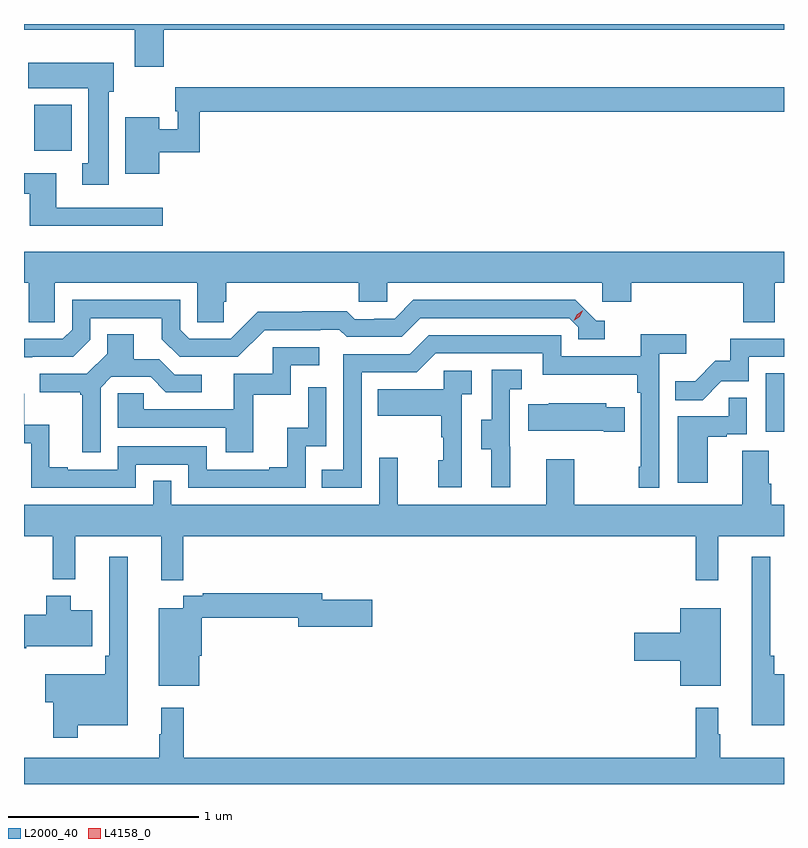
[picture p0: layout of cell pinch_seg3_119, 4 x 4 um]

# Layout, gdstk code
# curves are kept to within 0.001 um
import gdstk
lib = gdstk.Library(unit=1e-6, precision=1e-09)
def R(c, l, rs):  # rectangles x0, y0, x1, y1
    for r in rs: c.add(gdstk.rectangle(r[:2], r[2:], *l))
def P(c, l, *ps):  # polygons
    for p in ps: c.add(gdstk.Polygon(p, *l))
L2000_40 = (2000, 40)
L4158_0 = (4158, 0)

pinch_seg3_119 = lib.new_cell('pinch_seg3_119')
R(pinch_seg3_119, L2000_40, [(1075.562,716.118,1075.659,716.425), (1071.713,717.596,1071.91,717.838)])
P(pinch_seg3_119, L2000_40, [(1072.394,718.232),(1075.659,718.232),(1075.659,718.263),(1071.659,718.263),(1071.659,718.232),(1072.241,718.232),(1072.241,718.038),(1072.394,718.038)],
  [(1072.105,717.906),(1072.132,717.906),(1072.132,718.06),(1071.681,718.06),(1071.681,717.926),(1071.998,717.926),(1071.998,717.53),(1071.965,717.53),(1071.965,717.417),(1072.105,717.417)],
  [(1072.372,717.588),(1072.583,717.588),(1072.583,717.802),(1075.659,717.802),(1075.659,717.931),(1072.455,717.931),(1072.455,717.804),(1072.467,717.804),(1072.467,717.709),(1072.372,717.709),(1072.372,717.772),(1072.193,717.772),(1072.193,717.476),(1072.372,717.476)],
  [(1072.39,717.297),(1071.829,717.297),(1071.829,717.478),(1071.659,717.478),(1071.659,717.369),(1071.689,717.369),(1071.689,717.2),(1072.39,717.2)],
  [(1071.822,716.9),(1072.572,716.9),(1072.572,716.692),(1072.709,716.692),(1072.709,716.802),(1072.724,716.802),(1072.724,716.9),(1073.421,716.9),(1073.421,716.802),(1073.571,716.802),(1073.571,716.9),(1074.702,716.9),(1074.702,716.802),(1074.854,716.802),(1074.854,716.9),(1075.445,716.9),(1075.445,716.692),(1075.61,716.692),(1075.61,716.9),(1075.659,716.9),(1075.659,717.064),(1071.659,717.064),(1071.659,716.9),(1071.683,716.9),(1071.683,716.692),(1071.822,716.692)],
  [(1071.702,716.511),(1071.918,716.511),(1072.008,716.601),(1072.008,716.715),(1072.385,716.715),(1072.385,716.605),(1072.479,716.511),(1072.785,716.511),(1072.926,716.652),(1073.219,716.652),(1073.219,716.655),(1073.318,716.655),(1073.357,716.616),(1073.646,716.616),(1073.745,716.715),(1074.528,716.715),(1074.576,716.667),(1074.576,716.604),(1074.715,716.604),(1074.715,716.7),(1074.672,716.7),(1074.561,716.811),(1073.708,716.811),(1073.609,716.712),(1073.502,716.712),(1073.502,716.709),(1073.399,716.709),(1073.357,716.752),(1073.124,716.752),(1073.124,716.749),(1072.888,716.749),(1072.746,716.607),(1072.53,716.607),(1072.482,716.655),(1072.482,716.811),(1071.912,716.811),(1071.912,716.655),(1071.864,716.607),(1071.659,716.607),(1071.659,716.51)],
  [(1073.436,716.43),(1073.727,716.43),(1073.826,716.529),(1074.39,716.529),(1074.39,716.417),(1074.886,716.417),(1074.886,716.321),(1074.906,716.321),(1074.906,715.933),(1074.894,715.933),(1074.894,715.821),(1075.002,715.821),(1075.002,716.528),(1075.144,716.528),(1075.144,716.63),(1074.905,716.63),(1074.905,716.514),(1074.486,716.514),(1074.486,716.625),(1073.789,716.625),(1073.69,716.526),(1073.34,716.526),(1073.34,715.917),(1073.227,715.917),(1073.227,715.821),(1073.436,715.821)],
  [(1072.062,716.349),(1072.119,716.406),(1072.325,716.406),(1072.406,716.325),(1072.594,716.325),(1072.594,716.418),(1072.452,716.418),(1072.372,716.498),(1072.237,716.498),(1072.237,716.63),(1072.097,716.63),(1072.097,716.528),(1071.99,716.421),(1071.741,716.421),(1071.741,716.324),(1071.954,716.324),(1071.954,716.313),(1071.965,716.313),(1071.965,716.01),(1072.062,716.01)],
  [(1075.329,716.382),(1075.473,716.382),(1075.473,716.511),(1075.659,716.511),(1075.659,716.607),(1075.375,716.607),(1075.375,716.49),(1075.298,716.49),(1075.191,716.383),(1075.087,716.383),(1075.087,716.284),(1075.231,716.284)],
  [(1072.865,716.313),(1073.064,716.313),(1073.064,716.466),(1073.212,716.466),(1073.212,716.562),(1072.968,716.562),(1072.968,716.421),(1072.763,716.421),(1072.763,716.235),(1072.289,716.235),(1072.289,716.319),(1072.152,716.319),(1072.152,716.139),(1072.721,716.139),(1072.721,716.01),(1072.865,716.01)],
  [(1074.218,716.037),(1074.216,716.037),(1074.216,716.341),(1074.28,716.341),(1074.28,716.444),(1074.12,716.444),(1074.12,716.181),(1074.065,716.181),(1074.065,716.026),(1074.119,716.026),(1074.119,715.824),(1074.218,715.824)],
  [(1073.964,716.315),(1074.016,716.315),(1074.016,716.439),(1073.868,716.439),(1073.868,716.341),(1073.521,716.341),(1073.521,716.201),(1073.856,716.201),(1073.856,716.087),(1073.866,716.087),(1073.866,715.968),(1073.84,715.968),(1073.84,715.824),(1073.964,715.824)],
  [(1072.248,715.944),(1072.524,715.944),(1072.524,715.821),(1073.142,715.821),(1073.142,716.04),(1073.25,716.04),(1073.25,716.35),(1073.154,716.35),(1073.154,716.138),(1073.045,716.138),(1073.045,715.93),(1072.949,715.93),(1072.949,715.917),(1072.62,715.917),(1072.62,716.04),(1072.152,716.04),(1072.152,715.917),(1071.889,715.917),(1071.889,715.93),(1071.793,715.93),(1071.793,716.155),(1071.66,716.155),(1071.66,716.316),(1071.659,716.316),(1071.659,716.057),(1071.696,716.057),(1071.696,715.821),(1072.248,715.821)],
  [(1075.258,716.091),(1075.358,716.091),(1075.358,716.103),(1075.464,716.103),(1075.464,716.297),(1075.369,716.297),(1075.369,716.199),(1075.1,716.199),(1075.1,715.848),(1075.258,715.848)],
  [(1074.821,716.245),(1074.723,716.245),(1074.723,716.266),(1074.421,716.266),(1074.421,716.263),(1074.313,716.263),(1074.313,716.123),(1074.71,716.123),(1074.71,716.116),(1074.821,716.116)],
  [(1072.498,715.568),(1075.195,715.568),(1075.195,715.335),(1075.313,715.335),(1075.313,715.568),(1075.659,715.568),(1075.659,715.732),(1075.592,715.732),(1075.592,715.844),(1075.579,715.844),(1075.579,716.018),(1075.439,716.018),(1075.439,715.732),(1074.555,715.732),(1074.555,715.972),(1074.407,715.972),(1074.407,715.732),(1073.627,715.732),(1073.627,715.981),(1073.529,715.981),(1073.529,715.732),(1072.434,715.732),(1072.434,715.859),(1072.338,715.859),(1072.338,715.732),(1071.659,715.732),(1071.659,715.568),(1071.811,715.568),(1071.811,715.34),(1071.929,715.34),(1071.929,715.568),(1072.382,715.568),(1072.382,715.335),(1072.498,715.335)],
  [(1071.943,714.572),(1072.204,714.572),(1072.204,715.459),(1072.107,715.459),(1072.107,714.937),(1072.087,714.937),(1072.087,714.841),(1071.77,714.841),(1071.77,714.694),(1071.814,714.694),(1071.814,714.507),(1071.943,714.507)],
  [(1075.659,714.841),(1075.607,714.841),(1075.607,714.937),(1075.587,714.937),(1075.587,715.459),(1075.49,715.459),(1075.49,714.572),(1075.659,714.572)],
  [(1072.582,714.939),(1072.594,714.939),(1072.594,715.138),(1073.102,715.138),(1073.102,715.091),(1073.491,715.091),(1073.491,715.233),(1073.23,715.233),(1073.23,715.267),(1072.6,715.267),(1072.6,715.254),(1072.498,715.254),(1072.498,715.189),(1072.367,715.189),(1072.367,714.779),(1072.582,714.779)],
  [(1071.67,714.989),(1072.018,714.989),(1072.018,715.177),(1071.904,715.177),(1071.904,715.255),(1071.775,715.255),(1071.775,715.155),(1071.659,715.155),(1071.659,714.977),(1071.67,714.977)],
  [(1075.327,715.189),(1075.112,715.189),(1075.112,715.058),(1074.87,715.058),(1074.87,714.911),(1075.112,714.911),(1075.112,714.779),(1075.327,714.779)],
  [(1075.659,714.4),(1075.324,714.4),(1075.324,714.524),(1075.312,714.524),(1075.312,714.664),(1075.195,714.664),(1075.195,714.4),(1072.499,714.4),(1072.499,714.664),(1072.382,714.664),(1072.382,714.524),(1072.371,714.524),(1072.371,714.4),(1071.659,714.4),(1071.659,714.263),(1075.659,714.263)])
P(pinch_seg3_119, L4158_0, [(1074.552,716.701),(1074.552,716.701),(1074.568,716.734),(1074.598,716.754),(1074.599,716.754),(1074.599,716.753),(1074.583,716.721),(1074.552,716.701)])

lib.write_gds('pinch_seg3_119.gds')
